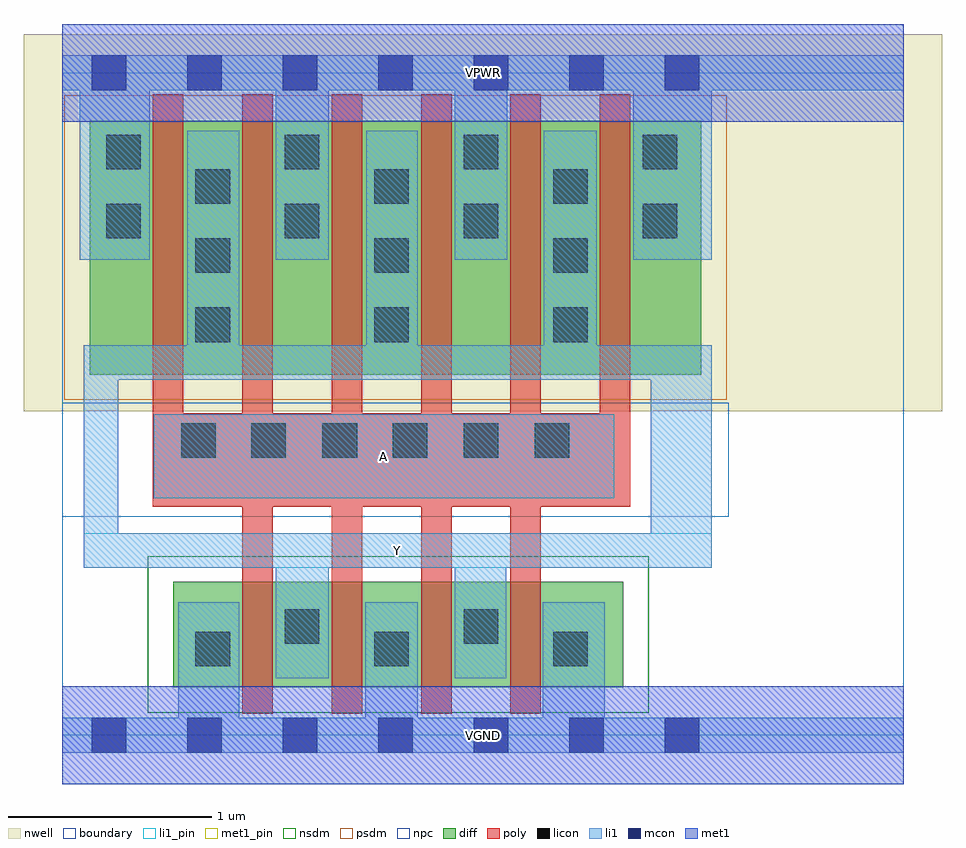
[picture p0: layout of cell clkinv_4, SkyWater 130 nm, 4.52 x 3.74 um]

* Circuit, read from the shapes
.subckt clkinv_4 A VGND VPWR Y
XM1 Y A VGND VSUBS sky130_fd_pr__nfet_01v8 w=0.52 l=0.15 m=4
XM2 Y A VPWR n1 sky130_fd_pr__pfet_01v8 w=1.25 l=0.15 m=6
.ends

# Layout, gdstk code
import gdstk
lib = gdstk.Library(unit=1e-6, precision=1e-09)
def R(c, l, rs):  # rectangles x0, y0, x1, y1
    for r in rs: c.add(gdstk.rectangle(r[:2], r[2:], *l))
def A(c, l, x, y, w, h, nx, ny, dx, dy):  # array of equal rectangles
    R(c, l, [(x+i*dx, y+j*dy, x+i*dx+w, y+j*dy+h) for i in range(nx) for j in range(ny)])
nwell = (64, 20)
diff = (65, 20)
poly = (66, 20)
licon = (66, 44)
li1_pin = (67, 16)
li1 = (67, 20)
mcon = (67, 44)
met1_pin = (68, 16)
met1 = (68, 20)
nsdm = (93, 44)
psdm = (94, 20)
npc = (95, 20)
boundary = (235, 4)

clkinv_4 = lib.new_cell('clkinv_4')
R(clkinv_4, nwell, [(-0.19,1.595,4.33,3.45), (0,1.595,4.14,3.45)])
R(clkinv_4, diff, [(0.545,0.235,2.76,0.755), (0.135,1.775,3.145,3.025)])
A(clkinv_4, poly, 0.885, 0.105, 0.15, 3.05, 4, 1, 0.44, 0)
R(clkinv_4, poly, [(0.445,1.125,2.795,1.585), (0.445,1.125,0.595,3.155), (2.645,1.125,2.795,3.155)])
A(clkinv_4, licon, 0.655, 0.34, 0.17, 0.17, 3, 2, 0.88, 1.595)
A(clkinv_4, licon, 1.625, 1.365, 0.17, 0.17, 3, 1, 0.35, 0)
A(clkinv_4, licon, 0.655, 2.275, 0.17, 0.17, 3, 2, 0.88, 0.34)
A(clkinv_4, licon, 0.215, 2.445, 0.17, 0.17, 4, 2, 0.88, 0.34)
R(clkinv_4, licon, [(1.095,0.45,1.265,0.62), (1.975,0.45,2.145,0.62), (0.585,1.365,0.755,1.535), (0.93,1.365,1.1,1.535), (1.28,1.365,1.45,1.535)])
R(clkinv_4, li1_pin, [(0.105,0.825,3.195,0.995), (0.45,1.165,2.715,1.58)])
R(clkinv_4, li1, [(0,-0.085,4.14,0.085), (0.57,-0.085,0.87,0.655), (1.49,-0.085,1.75,0.655), (2.365,-0.085,2.67,0.655), (1.05,0.28,1.31,0.995), (1.93,0.28,2.185,0.995), (0.105,0.825,3.195,0.995), (0.105,0.825,0.275,1.92), (2.895,0.825,3.195,1.92), (0.45,1.165,2.715,1.58), (0.105,1.75,3.195,1.92), (0.615,1.75,0.87,2.975), (1.495,1.75,1.75,2.975), (2.37,1.75,2.63,2.975), (0.085,2.34,0.43,3.345), (1.05,2.34,1.31,3.345), (1.93,2.34,2.19,3.345), (2.81,2.34,3.195,3.345), (0,3.175,4.14,3.345)])
A(clkinv_4, mcon, 0.145, -0.085, 0.17, 0.17, 7, 2, 0.47, 3.26)
R(clkinv_4, met1_pin, [(0,-0.24,4.14,0.24), (0,3.02,4.14,3.5)])
R(clkinv_4, met1, [(0,-0.24,4.14,0.24), (0,3.02,4.14,3.5)])
R(clkinv_4, nsdm, [(0.42,0.11,2.885,0.88)])
R(clkinv_4, psdm, [(0.01,1.65,3.27,3.15)])
R(clkinv_4, npc, [(0,1.075,3.28,1.635)])
R(clkinv_4, boundary, [(0,0,4.14,3.26)])
clkinv_4.add(gdstk.Label('A', (1.582,1.372), layer=67, texttype=5))
clkinv_4.add(gdstk.Label('Y', (1.65,0.91), layer=67, texttype=5))
clkinv_4.add(gdstk.Label('VPWR', (2.07,3.26), layer=68, texttype=5))
clkinv_4.add(gdstk.Label('VGND', (2.07,0), layer=68, texttype=5))
clkinv_4.add(gdstk.Label('A', (1.582,1.372), layer=67, texttype=16))
clkinv_4.add(gdstk.Label('Y', (1.65,0.91), layer=67, texttype=16))
clkinv_4.add(gdstk.Label('VPWR', (2.07,3.26), layer=68, texttype=16))
clkinv_4.add(gdstk.Label('VGND', (2.07,0), layer=68, texttype=16))

lib.write_gds('clkinv_4.gds')
